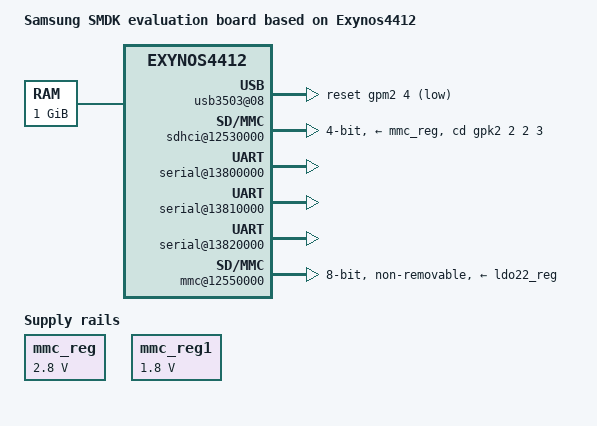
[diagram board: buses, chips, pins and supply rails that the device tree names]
/*
 * Samsung's Exynos4412 based SMDK board device tree source
 *
 * Copyright (c) 2012-2013 Samsung Electronics Co., Ltd.
 *		http://www.samsung.com
 *
 * Device tree source file for Samsung's SMDK4412 board which is based on
 * Samsung's Exynos4412 SoC.
 *
 * This program is free software; you can redistribute it and/or modify
 * it under the terms of the GNU General Public License version 2 as
 * published by the Free Software Foundation.
*/

/dts-v1/;
/include/ "exynos4412.dtsi"

/ {
	model = "Samsung SMDK evaluation board based on Exynos4412";
	compatible = "samsung,smdk4412", "samsung,exynos4412";

	memory {
		reg = <0x40000000 0x40000000>;
	};

	chosen {
		bootargs = "root=/dev/ram0 rw rootfstype=ext4 console=ttySAC2,115200 ethmac=1C:6F:65:34:51:7E init=/linuxrc earlyprintk";
	};

/*	usb-hub {
		compatible = "smsc,usb4640";
		reset-gpios = <&gpm2 4 0>;
		initial-mode = <;USB4640_MODE_HUB>;
	};
*/
	gic: interrupt-controller@10490000 {
		compatible = "arm,cortex-a9-gic";
		#interrupt-cells = <3>;
		interrupt-controller;
		reg = <0x10490000 0x10000>, <0x10480000 0x10000>;
	};

	pmu_system_controller: system-controller@10020000 {
		compatible = "samsung,exynos4210-pmu", "syscon";
		reg = <0x10020000 0x4000>;
		interrupt-controller;
		#interrupt-cells = <3>;
		interrupt-parent = <&gic>;
	};

	exynos_usbphy: exynos-usbphy@125B0000 {
		compatible = "samsung,exynos4210-usb2-phy";
		reg = <0x125B0000 0x100>;
		samsung,pmureg-phandle = <&pmu_system_controller>;
		clocks = <&clock 305>, <&clock 2>;
		clock-names = "phy", "ref";
		#phy-cells = <1>;
		status = "disabled";
	};

/*	hsotg: hsotg@12480000 {
		compatible = "samsung,s3c6400-hsotg";
		reg = <0x12480000 0x20000>;
		interrupts = <0 71 0>;
		clocks = <&clock CLK_USB_DEVICE>;
		clock-names = "otg";
		phys = <&exynos_usbphy 0>;
		phy-names = "usb2-phy";
		status = "disabled";
	};
*/
	ehci: ehci@12580000 {
		compatible = "samsung,exynos4210-ehci";
		reg = <0x12580000 0x100>;
		interrupts = <0 70 0>;
		clocks = <&clock 304>;
		clock-names = "usbhost";
		status = "disabled";
		#address-cells = <1>;
		#size-cells = <0>;
		port@0 {
		    reg = <0>;
		    phys = <&exynos_usbphy 1>;
		    status = "disabled";
		};
		port@1 {
		    reg = <1>;
		    phys = <&exynos_usbphy 2>;
		    status = "disabled";
		};
		port@2 {
		    reg = <2>;
		    phys = <&exynos_usbphy 3>;
		    status = "disabled";
		};
	};

/*	ohci: ohci@12590000 {
		compatible = "samsung,exynos4210-ohci";
		reg = <0x12590000 0x100>;
		interrupts = <0 70 0>;
		clocks = <&clock CLK_USB_HOST>;
		clock-names = "usbhost";
		status = "disabled";
		#address-cells = <1>;
		#size-cells = <0>;
		port@0 {
		    reg = <0>;
		    phys = <&exynos_usbphy 1>;
		    status = "disabled";
		};
	};

	usbphy:usbphy@125B0000{
		status = "okay";
        	#address-cells=<1>;
        	#size-cells=<1>;
                   compatible="samsung,exynos4x12-usb2phy";
                   reg=<0x125B0000 0x100>;
                   ranges;

                   clocks=<&clock 2>,<&clock 305>;
                   clock-names="xusbxti","otg";

                   usbphy-sys{
                        reg=<0x10020704 0x8 0x1001021c 0x4>;
                   };
	};
	
	ehci@12580000{
            status="okay";
            usbphy=<&usbphy>;
        };
*/
       	usb3503@08{
            compatible="smsc,usb3503a";
            reg=<0x08 0x4>;
            connect-gpios=<&gpm3 3 1>;
            intn-gpios=<&gpx2 3 1>;
            reset-gpios=<&gpm2 4 1>;
            initial-mode=<1>;
       	};

	regulators {
		compatible = "simple-bus";
		#address-cells = <1>;
		#size-cells = <0>;

		mmc_reg: regulator@0{
			compatible = "regulator-fixed";
			reg = <0>;
			regulator-name = "VMEM_VDD_2.8V";
			regulator-min-microvolt = <2800000>;
			regulator-max-microvolt = <2800000>;
			enable-active-high;
		};
		mmc_reg1: regulator@1{
			compatible = "regulator-fixed";
			reg = <1>;
			regulator-name = "VMEM_VDD_1.8V";
			regulator-min-microvolt = <1800000>;
			regulator-max-microvolt = <1800000>;
			enable-active-high;
			regulator-always-on;
		 };
		ldo22_reg: LDO22 {
				regulator-name = "VMEM_VDD_2.8V";
				regulator-min-microvolt = <2800000>;
				regulator-max-microvolt = <2800000>;
				maxim,ena-gpios = <&gpk0 2 1>;
			};	
	};

	rtc@10070000 {
		status = "okay";
	};

	sdhci@12530000 {
		compatible = "samsung,exynos4210-sdhci";
		reg = <0x12530000 0x100>;
		interrupts = <0 75 0>;
		bus-width = <4>;
		cd-gpios = <&gpk2 2 2 3 3>;
		pinctrl-0 = <&sd2_clk &sd2_cmd &sd2_bus4>;
		pinctrl-names = "default";
		vmmc-supply = <&mmc_reg>;
//		vqmmc-supply = <&mmc_reg1>;
//		cap-sd-highspeed;
		status = "okay";
	};

/*	sdhci@12530000 {
		compatible = "samsung,exynos4210-sdhci";
		reg = <0x12530000 0x100>;
		interrupts = <0 75 0>;
		bus-width = <4>;
		cd-gpios = <&gpk2 2 2 3 3>;
*/
		/* Samsung GPIO variant */
//		gpios = <&gpk2 0 2 0 3>,  /* clock line */
//			<&gpk2 1 2 0 3>,  /* command line */
//			<&gpk2 3 2 3 3>,  /* data line 0 */
//			<&gpk2 4 2 3 3>,  /* data line 1 */
//			<&gpk2 5 2 3 3>,  /* data line 2 */
//			<&gpk2 6 2 3 3>;  /* data line 3 */

		/* Pinctrl variant */
/*		pinctrl-0 = <&sd0_clk &sd0_cmd &sd0_bus4>;
		pinctrl-names = "default";
		status = "okay";
	};
*/
	serial@13800000 {
		status = "okay";
	};

	serial@13810000 {
		status = "okay";
	};

	serial@13820000 {
		status = "okay";
	};

	mmc@12550000 {
	compatible = "samsung,exynos4412-dw-mshc";
		reg = <0x12550000 0x1000>;
		interrupts = <0 77 0>;
		#address-cells = <1>;
		#size-cells = <0>;
		fifo-depth = <0x80>;
		clocks = <&clock 301>, <&clock 149>;
		clock-names = "biu", "ciu";
		num-slots = <1>;
		broken-cd;
		non-removable;
		card-detect-delay = <200>;
		vmmc-supply = <&ldo22_reg>;
		clock-frequency = <400000000>;
		samsung,dw-mshc-ciu-div = <0>;
		samsung,dw-mshc-sdr-timing = <2 3>;
		samsung,dw-mshc-ddr-timing = <1 2>;
		pinctrl-0 = <&sd4_clk &sd4_cmd &sd4_bus4 &sd4_bus8>;
		pinctrl-names = "default";
		status = "okay";
		bus-width = <8>;
		cap-mmc-highspeed;
	};
};
